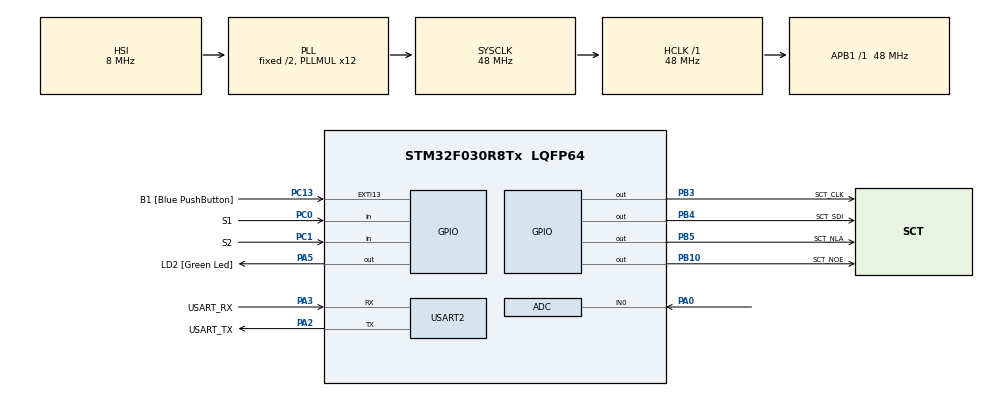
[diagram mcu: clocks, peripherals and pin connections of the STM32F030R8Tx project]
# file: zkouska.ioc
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ADC.ContinuousConvMode=ENABLE
ADC.Overrun=ADC_OVR_DATA_OVERWRITTEN
ADC.SamplingTime=ADC_SAMPLETIME_239CYCLES_5
Mcu.Family=STM32F0
Mcu.Name=STM32F030R8Tx
Mcu.Package=LQFP64
NVIC.ADC1_IRQn=true\:0\:0\:false\:false\:true\:true\:true
PA0.Mode=IN0
PA0.Signal=ADC_IN0
PA13.GPIO_Label=TMS
PA13.Mode=Serial_Wire
PA13.Signal=SYS_SWDIO
PA14.GPIO_Label=TCK
PA14.Mode=Serial_Wire
PA14.Signal=SYS_SWCLK
PA2.GPIO_Label=USART_TX
PA2.GPIO_Mode=GPIO_MODE_AF_PP
PA2.GPIO_PuPd=GPIO_NOPULL
PA2.GPIO_Speed=GPIO_SPEED_FREQ_LOW
PA2.Mode=Asynchronous
PA2.Signal=USART2_TX
PA3.GPIO_Label=USART_RX
PA3.GPIO_Mode=GPIO_MODE_AF_PP
PA3.GPIO_PuPd=GPIO_NOPULL
PA3.GPIO_Speed=GPIO_SPEED_FREQ_LOW
PA3.Mode=Asynchronous
PA3.Signal=USART2_RX
PA5.GPIO_Label=LD2 [Green Led]
PA5.GPIO_Mode=GPIO_MODE_OUTPUT_PP
PA5.GPIO_PuPd=GPIO_NOPULL
PA5.GPIO_Speed=GPIO_SPEED_FREQ_LOW
PA5.Signal=GPIO_Output
PB10.GPIO_Label=SCT_NOE
PB10.Signal=GPIO_Output
PB3.GPIO_Label=SCT_CLK
PB3.Signal=GPIO_Output
PB4.GPIO_Label=SCT_SDI
PB4.Signal=GPIO_Output
PB5.GPIO_Label=SCT_NLA
PB5.Signal=GPIO_Output
PC0.GPIO_Label=S1
PC0.Signal=GPIO_Input
PC1.GPIO_Label=S2
PC1.Signal=GPIO_Input
PC13.GPIO_Label=B1 [Blue PushButton]
PC13.GPIO_ModeDefaultEXTI=GPIO_MODE_IT_FALLING
PC13.Signal=GPXTI13
PC14-OSC32_IN.Mode=LSE-External-Oscillator
PC14-OSC32_IN.Signal=RCC_OSC32_IN
PC15-OSC32_OUT.Mode=LSE-External-Oscillator
PC15-OSC32_OUT.Signal=RCC_OSC32_OUT
PF0-OSC_IN.Mode=HSE-External-Clock-Source
PF0-OSC_IN.Signal=RCC_OSC_IN
PF1-OSC_OUT.Signal=RCC_OSC_OUT
ProjectManager.HeapSize=0x200
ProjectManager.StackSize=0x400
ProjectManager.TargetToolchain=STM32CubeIDE
RCC.AHBFreq_Value=48000000
RCC.APB1Freq_Value=48000000
RCC.APB1TimFreq_Value=48000000
RCC.HCLKFreq_Value=48000000
RCC.PLLMUL=RCC_PLL_MUL12
RCC.SYSCLKFreq_VALUE=48000000
RCC.SYSCLKSource=RCC_SYSCLKSOURCE_PLLCLK
USART2.VirtualMode-Asynchronous=VM_ASYNC
board=NUCLEO-F030R8

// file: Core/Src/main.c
/* USER CODE BEGIN Header */
/**
  ******************************************************************************
  * @file           : main.c
  * @brief          : Main program body
  ******************************************************************************
  * @attention
  *
  * <h2><center>&copy; Copyright (c) 2022 STMicroelectronics.
  * All rights reserved.</center></h2>
  *
  * This software component is licensed by ST under BSD 3-Clause license,
  * the "License"; You may not use this file except in compliance with the
  * License. You may obtain a copy of the License at:
  *                        opensource.org/licenses/BSD-3-Clause
  *
  ******************************************************************************
  */
/* USER CODE END Header */
#include "main.h"

/* USER CODE BEGIN Includes */
#include "sct.h"

/* USER CODE END Includes */

ADC_HandleTypeDef hadc;

UART_HandleTypeDef huart2;

void SystemClock_Config(void);
static void MX_GPIO_Init(void);
static void MX_USART2_UART_Init(void);
static void MX_ADC_Init(void);

/* USER CODE BEGIN 0 */
static volatile uint32_t raw_pot;

void dopredu()
{
	uint8_t bargraf = 0;
	uint32_t cislo=0;

	cislo=raw_pot/4095;

	for(uint8_t i = 0; i < 9; i++)
	{
		sct_value(bargraf);
		HAL_Delay(cislo);

		bargraf++;
	}
}

void dozadu()
{
	uint8_t bargraf = 9;
	uint32_t cislo=0;

	cislo=raw_pot/4095;

	for(uint8_t i = 0; i < 9; i++)
	{
		sct_value(bargraf);
		HAL_Delay(cislo);

		bargraf--;
	}
}

static volatile uint32_t raw_pot;
void HAL_ADC_ConvCpltCallback(ADC_HandleTypeDef* hadc) // po prevodu vyvolany call back a zisk hodnoty
{
 raw_pot = HAL_ADC_GetValue(hadc);
}

/* USER CODE END 0 */

int main(void)
{

  /* MCU Configuration--------------------------------------------------------*/

  /* Reset of all peripherals, Initializes the Flash interface and the Systick. */
  HAL_Init();

  /* Configure the system clock */
  SystemClock_Config();

  /* Initialize all configured peripherals */
  MX_GPIO_Init();
  MX_USART2_UART_Init();
  MX_ADC_Init();
  /* USER CODE BEGIN 2 */

  sct_init();

  HAL_ADCEx_Calibration_Start(&hadc); // kalibrace
  HAL_ADC_Start_IT(&hadc); // volani preruseni po dokonceni prevodu

  /* USER CODE END 2 */

  /* Infinite loop */
  /* USER CODE BEGIN WHILE */
  while (1)
  {
	  static enum { DOPREDU, DOZADU} state = DOPREDU;

	  if (HAL_GPIO_ReadPin(S1_GPIO_Port,S1_Pin)==0)
	  {

		  state = DOPREDU;
	  }
	  else if (HAL_GPIO_ReadPin(S2_GPIO_Port,S2_Pin)==0)
	  {

		  state = DOZADU;
	  }

	  if(state == DOPREDU)
	  {
		  dopredu();
	  }
	  else if(state == DOZADU)
	  {
		  dozadu();
	  }

    /* USER CODE END WHILE */

  }
}

void SystemClock_Config(void)
{
  RCC_OscInitTypeDef RCC_OscInitStruct = {0};
  RCC_ClkInitTypeDef RCC_ClkInitStruct = {0};

  /** Initializes the RCC Oscillators according to the specified parameters
  * in the RCC_OscInitTypeDef structure.
  */
  RCC_OscInitStruct.OscillatorType = RCC_OSCILLATORTYPE_HSI|RCC_OSCILLATORTYPE_HSI14;
  RCC_OscInitStruct.HSIState = RCC_HSI_ON;
  RCC_OscInitStruct.HSI14State = RCC_HSI14_ON;
  RCC_OscInitStruct.HSICalibrationValue = RCC_HSICALIBRATION_DEFAULT;
  RCC_OscInitStruct.HSI14CalibrationValue = 16;
  RCC_OscInitStruct.PLL.PLLState = RCC_PLL_ON;
  RCC_OscInitStruct.PLL.PLLSource = RCC_PLLSOURCE_HSI;
  RCC_OscInitStruct.PLL.PLLMUL = RCC_PLL_MUL12;
  RCC_OscInitStruct.PLL.PREDIV = RCC_PREDIV_DIV1;
  if (HAL_RCC_OscConfig(&RCC_OscInitStruct) != HAL_OK)
  {
    Error_Handler();
  }
  /** Initializes the CPU, AHB and APB buses clocks
  */
  RCC_ClkInitStruct.ClockType = RCC_CLOCKTYPE_HCLK|RCC_CLOCKTYPE_SYSCLK
                              |RCC_CLOCKTYPE_PCLK1;
  RCC_ClkInitStruct.SYSCLKSource = RCC_SYSCLKSOURCE_PLLCLK;
  RCC_ClkInitStruct.AHBCLKDivider = RCC_SYSCLK_DIV1;
  RCC_ClkInitStruct.APB1CLKDivider = RCC_HCLK_DIV1;

  if (HAL_RCC_ClockConfig(&RCC_ClkInitStruct, FLASH_LATENCY_1) != HAL_OK)
  {
    Error_Handler();
  }
}

static void MX_ADC_Init(void)
{

  ADC_ChannelConfTypeDef sConfig = {0};

  /** Configure the global features of the ADC (Clock, Resolution, Data Alignment and number of conversion)
  */
  hadc.Instance = ADC1;
  hadc.Init.ClockPrescaler = ADC_CLOCK_ASYNC_DIV1;
  hadc.Init.Resolution = ADC_RESOLUTION_12B;
  hadc.Init.DataAlign = ADC_DATAALIGN_RIGHT;
  hadc.Init.ScanConvMode = ADC_SCAN_DIRECTION_FORWARD;
  hadc.Init.EOCSelection = ADC_EOC_SINGLE_CONV;
  hadc.Init.LowPowerAutoWait = DISABLE;
  hadc.Init.LowPowerAutoPowerOff = DISABLE;
  hadc.Init.ContinuousConvMode = ENABLE;
  hadc.Init.DiscontinuousConvMode = DISABLE;
  hadc.Init.ExternalTrigConv = ADC_SOFTWARE_START;
  hadc.Init.ExternalTrigConvEdge = ADC_EXTERNALTRIGCONVEDGE_NONE;
  hadc.Init.DMAContinuousRequests = DISABLE;
  hadc.Init.Overrun = ADC_OVR_DATA_OVERWRITTEN;
  if (HAL_ADC_Init(&hadc) != HAL_OK)
  {
    Error_Handler();
  }
  /** Configure for the selected ADC regular channel to be converted.
  */
  sConfig.Channel = ADC_CHANNEL_0;
  sConfig.Rank = ADC_RANK_CHANNEL_NUMBER;
  sConfig.SamplingTime = ADC_SAMPLETIME_239CYCLES_5;
  if (HAL_ADC_ConfigChannel(&hadc, &sConfig) != HAL_OK)
  {
    Error_Handler();
  }

}

static void MX_USART2_UART_Init(void)
{

  huart2.Instance = USART2;
  huart2.Init.BaudRate = 38400;
  huart2.Init.WordLength = UART_WORDLENGTH_8B;
  huart2.Init.StopBits = UART_STOPBITS_1;
  huart2.Init.Parity = UART_PARITY_NONE;
  huart2.Init.Mode = UART_MODE_TX_RX;
  huart2.Init.HwFlowCtl = UART_HWCONTROL_NONE;
  huart2.Init.OverSampling = UART_OVERSAMPLING_16;
  huart2.Init.OneBitSampling = UART_ONE_BIT_SAMPLE_DISABLE;
  huart2.AdvancedInit.AdvFeatureInit = UART_ADVFEATURE_NO_INIT;
  if (HAL_UART_Init(&huart2) != HAL_OK)
  {
    Error_Handler();
  }

}

static void MX_GPIO_Init(void)
{
  GPIO_InitTypeDef GPIO_InitStruct = {0};

  /* GPIO Ports Clock Enable */
  __HAL_RCC_GPIOC_CLK_ENABLE();
  __HAL_RCC_GPIOF_CLK_ENABLE();
  __HAL_RCC_GPIOA_CLK_ENABLE();
  __HAL_RCC_GPIOB_CLK_ENABLE();

  /*Configure GPIO pin Output Level */
  HAL_GPIO_WritePin(LD2_GPIO_Port, LD2_Pin, GPIO_PIN_RESET);

  /*Configure GPIO pin Output Level */
  HAL_GPIO_WritePin(GPIOB, SCT_NOE_Pin|SCT_CLK_Pin|SCT_SDI_Pin|SCT_NLA_Pin, GPIO_PIN_RESET);

  /*Configure GPIO pin : B1_Pin */
  GPIO_InitStruct.Pin = B1_Pin;
  GPIO_InitStruct.Mode = GPIO_MODE_IT_FALLING;
  GPIO_InitStruct.Pull = GPIO_NOPULL;
  HAL_GPIO_Init(B1_GPIO_Port, &GPIO_InitStruct);

  /*Configure GPIO pins : S1_Pin S2_Pin */
  GPIO_InitStruct.Pin = S1_Pin|S2_Pin;
  GPIO_InitStruct.Mode = GPIO_MODE_INPUT;
  GPIO_InitStruct.Pull = GPIO_NOPULL;
  HAL_GPIO_Init(GPIOC, &GPIO_InitStruct);

  /*Configure GPIO pin : LD2_Pin */
  GPIO_InitStruct.Pin = LD2_Pin;
  GPIO_InitStruct.Mode = GPIO_MODE_OUTPUT_PP;
  GPIO_InitStruct.Pull = GPIO_NOPULL;
  GPIO_InitStruct.Speed = GPIO_SPEED_FREQ_LOW;
  HAL_GPIO_Init(LD2_GPIO_Port, &GPIO_InitStruct);

  /*Configure GPIO pins : SCT_NOE_Pin SCT_CLK_Pin SCT_SDI_Pin SCT_NLA_Pin */
  GPIO_InitStruct.Pin = SCT_NOE_Pin|SCT_CLK_Pin|SCT_SDI_Pin|SCT_NLA_Pin;
  GPIO_InitStruct.Mode = GPIO_MODE_OUTPUT_PP;
  GPIO_InitStruct.Pull = GPIO_NOPULL;
  GPIO_InitStruct.Speed = GPIO_SPEED_FREQ_LOW;
  HAL_GPIO_Init(GPIOB, &GPIO_InitStruct);

}

void Error_Handler(void)
{
  __disable_irq();
  while (1)
  {
  }
}
